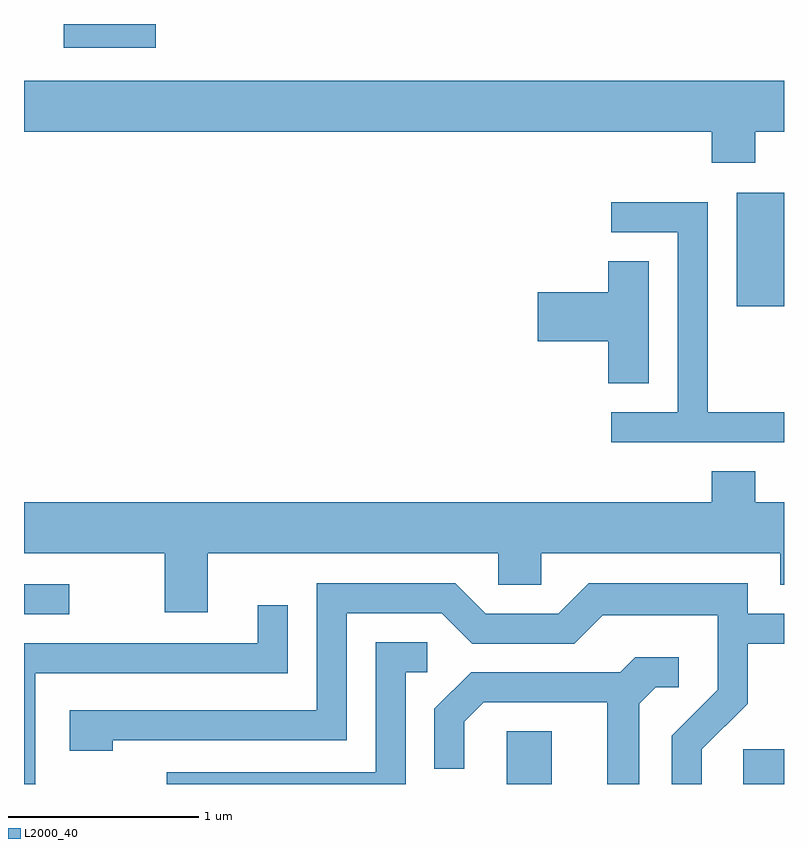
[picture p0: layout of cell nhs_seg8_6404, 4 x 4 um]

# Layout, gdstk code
import gdstk
lib = gdstk.Library(unit=1e-6, precision=1e-09)
def R(c, l, rs):  # rectangles x0, y0, x1, y1
    for r in rs: c.add(gdstk.rectangle(r[:2], r[2:], *l))
def P(c, l, *ps):  # polygons
    for p in ps: c.add(gdstk.Polygon(p, *l))
L2000_40 = (2000, 40)

nhs_seg8_6404 = lib.new_cell('nhs_seg8_6404')
R(nhs_seg8_6404, L2000_40, [(380.151,1806.342,380.389,1806.619), (381.396,1806.342,381.611,1806.524), (377.611,1807.236,377.848,1807.394), (381.361,1808.856,381.611,1809.454), (377.821,1810.216,378.304,1810.342)])
P(nhs_seg8_6404, L2000_40, [(381.459,1809.776),(381.611,1809.776),(381.611,1810.044),(377.611,1810.044),(377.611,1809.776),(381.231,1809.776),(381.231,1809.611),(381.459,1809.611)],
  [(381.611,1808.299),(381.209,1808.299),(381.209,1809.404),(380.703,1809.404),(380.703,1809.246),(381.051,1809.246),(381.051,1808.299),(380.703,1808.299),(380.703,1808.141),(381.611,1808.141)],
  [(380.899,1809.094),(380.686,1809.094),(380.686,1808.929),(380.316,1808.929),(380.316,1808.671),(380.686,1808.671),(380.686,1808.451),(380.899,1808.451)],
  [(378.579,1807.556),(380.106,1807.556),(380.106,1807.391),(380.334,1807.391),(380.334,1807.556),(381.591,1807.556),(381.591,1807.391),(381.611,1807.391),(381.611,1807.824),(381.459,1807.824),(381.459,1807.989),(381.231,1807.989),(381.231,1807.824),(377.611,1807.824),(377.611,1807.556),(378.351,1807.556),(378.351,1807.246),(378.579,1807.246)],
  [(381.179,1806.524),(381.419,1806.764),(381.419,1807.081),(381.611,1807.081),(381.611,1807.239),(381.419,1807.239),(381.419,1807.399),(380.584,1807.399),(380.424,1807.239),(380.042,1807.239),(379.882,1807.399),(379.151,1807.399),(379.151,1806.729),(377.851,1806.729),(377.851,1806.516),(378.079,1806.516),(378.079,1806.571),(379.309,1806.571),(379.309,1807.241),(379.809,1807.241),(379.969,1807.081),(380.507,1807.081),(380.657,1807.231),(381.261,1807.231),(381.261,1806.837),(381.021,1806.597),(381.021,1806.342),(381.179,1806.342)],
  [(377.669,1806.347),(377.669,1806.926),(378.999,1806.926),(378.999,1807.283),(378.841,1807.283),(378.841,1807.084),(377.611,1807.084),(377.611,1806.342),(377.674,1806.342)],
  [(379.619,1806.931),(379.733,1806.931),(379.733,1807.089),(379.461,1807.089),(379.461,1806.404),(378.363,1806.404),(378.363,1806.342),(379.619,1806.342)],
  [(380.849,1806.764),(380.937,1806.851),(381.058,1806.851),(381.058,1807.009),(380.829,1807.009),(380.749,1806.929),(379.964,1806.929),(379.771,1806.737),(379.771,1806.423),(379.929,1806.423),(379.929,1806.669),(380.032,1806.771),(380.681,1806.771),(380.681,1806.342),(380.849,1806.342)])

lib.write_gds('nhs_seg8_6404.gds')
